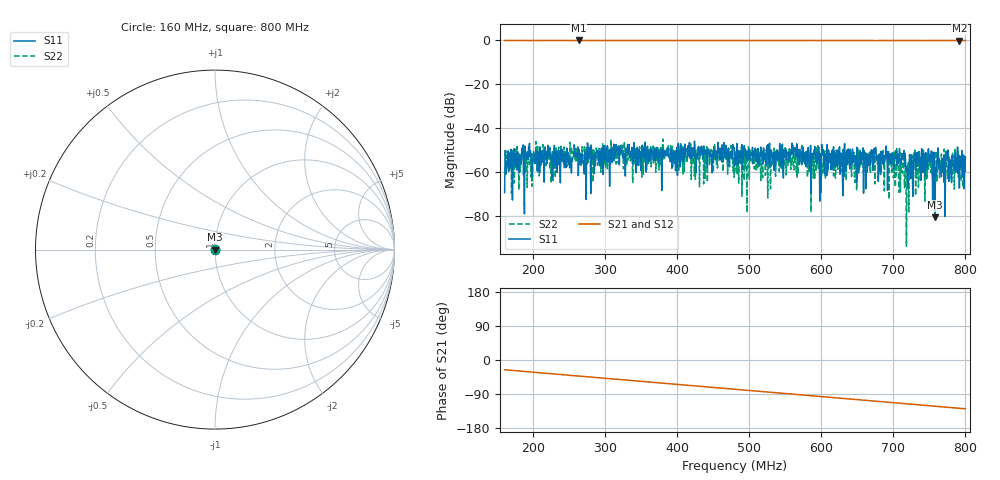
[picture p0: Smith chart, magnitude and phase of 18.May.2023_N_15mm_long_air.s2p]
!Keysight Technologies N9950B: A.12.38
!Date: Thursday, 18 May 2023 17:07:59
!Timezone: (UTC-06:00) Central Time (US & Canada)
!Model: N9950B
!Serial: MY61131330
!GPS Latitude:
!GPS Longitude:
!GPS TimeStamp: 0001-01-01 00:00:00Z
!GPS Seconds Since Last Read: 0
!CHECKSUM:1787427054
!Correction: S11(ON U)S21(ON U)S12(ON U)S22(ON U)
!S2P File: Measurements:S11,S21,S12,S22:
# Hz S DB R 50
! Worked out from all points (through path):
!   1001 points, 160 MHz to 800 MHz, reference 50 ohm
!   highest |S21| = 0.01 dB at 263 MHz (marker M1); lowest = -0.1 dB at 791.7 MHz (marker M2)
!   group delay of S21, straight-line fit = 447 ps
!   lowest |S11| = -80.6 dB at 757.8 MHz (marker M3), VSWR 1.00, Z = 50 + j0.00889 ohm
!   |S11| at or under -10 dB: start of sweep to end of sweep
!   |S22| runs from -93.8 to -45.0 dB; largest |S21 - S12| = 0.005
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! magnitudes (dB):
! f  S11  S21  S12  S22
! 160 MHz  -69.4  0.0  0.0  -49.9
! 163.8 MHz  -54.8  0.0  0.0  -50.6
! 189.4 MHz  -51.1  0.0  0.0  -51.6
! 191.4 MHz  -50.8  0.0  0.0  -67.0
! 263 MHz  -49.8  0.0  0.0  -49.8
! 266.9 MHz  -53.3  0.0  0.0  -53.3
! 373.8 MHz  -55.6  0.0  0.0  -49.0
! 473.6 MHz  -53.1  0.0  0.0  -53.8
! 480 MHz  -52.3  0.0  0.0  -50.1
! 564.5 MHz  -53.3  0.0  0.0  -53.6
! 571.5 MHz  -51.8  0.0  0.0  -52.7
! 586.9 MHz  -53.4  0.0  0.0  -53.3
! 612.5 MHz  -53.3  0.0  0.0  -53.3
! 693.8 MHz  -54.6  0.0  0.0  -72.4
! 713.6 MHz  -52.1  0.0  0.0  -54.7
! 718.1 MHz  -57.8  0.0  0.0  -93.8
! 727 MHz  -71.1  0.0  0.0  -52.4
! 734.1 MHz  -53.9  0.0  0.0  -50.5
! 750.7 MHz  -53.2  0.0  0.0  -57.0
! 757.8 MHz  -80.6  0.0  0.0  -51.7
! 791.7 MHz  -67.3  -0.1  0.0  -57.6
! 800 MHz  -53.0  0.0  0.0  -58.1
